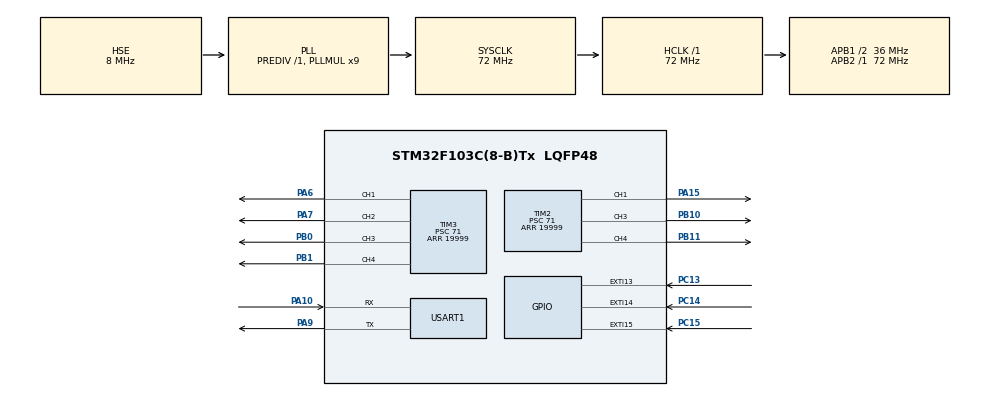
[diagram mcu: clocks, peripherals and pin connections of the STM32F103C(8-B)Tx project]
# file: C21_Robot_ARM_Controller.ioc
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Mcu.Family=STM32F1
Mcu.Name=STM32F103C(8-B)Tx
Mcu.Package=LQFP48
NVIC.EXTI15_10_IRQn=true\:0\:0\:false\:false\:true\:true\:true
NVIC.PriorityGroup=NVIC_PRIORITYGROUP_4
NVIC.USART1_IRQn=true\:0\:0\:false\:false\:true\:true\:true
PA10.Mode=Asynchronous
PA10.Signal=USART1_RX
PA13.Mode=Serial_Wire
PA13.Signal=SYS_JTMS-SWDIO
PA14.Mode=Serial_Wire
PA14.Signal=SYS_JTCK-SWCLK
PA15.Signal=S_TIM2_CH1_ETR
PA6.Signal=S_TIM3_CH1
PA7.Signal=S_TIM3_CH2
PA9.Mode=Asynchronous
PA9.Signal=USART1_TX
PB0.Signal=S_TIM3_CH3
PB1.Signal=S_TIM3_CH4
PB10.Signal=S_TIM2_CH3
PB11.Signal=S_TIM2_CH4
PC13-TAMPER-RTC.GPIO_ModeDefaultEXTI=GPIO_MODE_IT_RISING_FALLING
PC13-TAMPER-RTC.Signal=GPXTI13
PC14-OSC32_IN.Signal=GPXTI14
PC15-OSC32_OUT.Signal=GPXTI15
PD0-OSC_IN.Mode=HSE-External-Oscillator
PD0-OSC_IN.Signal=RCC_OSC_IN
PD1-OSC_OUT.Mode=HSE-External-Oscillator
PD1-OSC_OUT.Signal=RCC_OSC_OUT
ProjectManager.HeapSize=0x200
ProjectManager.StackSize=0x400
ProjectManager.TargetToolchain=STM32CubeIDE
RCC.ADCPresc=RCC_ADCPCLK2_DIV8
RCC.AHBFreq_Value=72000000
RCC.APB1CLKDivider=RCC_HCLK_DIV2
RCC.APB1Freq_Value=36000000
RCC.APB1TimFreq_Value=72000000
RCC.APB2Freq_Value=72000000
RCC.APB2TimFreq_Value=72000000
RCC.HCLKFreq_Value=72000000
RCC.PLLMUL=RCC_PLL_MUL9
RCC.PLLSourceVirtual=RCC_PLLSOURCE_HSE
RCC.SYSCLKFreq_VALUE=72000000
RCC.SYSCLKSource=RCC_SYSCLKSOURCE_PLLCLK
RCC.USBFreq_Value=48000000
RCC.USBPrescaler=RCC_USBCLKSOURCE_PLL_DIV1_5
SH.S_TIM2_CH1_ETR.0=TIM2_CH1,PWM Generation1 CH1
SH.S_TIM2_CH3.0=TIM2_CH3,PWM Generation3 CH3
SH.S_TIM2_CH4.0=TIM2_CH4,PWM Generation4 CH4
SH.S_TIM3_CH1.0=TIM3_CH1,PWM Generation1 CH1
SH.S_TIM3_CH2.0=TIM3_CH2,PWM Generation2 CH2
SH.S_TIM3_CH3.0=TIM3_CH3,PWM Generation3 CH3
SH.S_TIM3_CH4.0=TIM3_CH4,PWM Generation4 CH4
TIM1.Period=2000
TIM1.Prescaler=71
TIM2.Channel-PWM\ Generation1\ CH1=TIM_CHANNEL_1
TIM2.Channel-PWM\ Generation3\ CH3=TIM_CHANNEL_3
TIM2.Channel-PWM\ Generation4\ CH4=TIM_CHANNEL_4
TIM2.Period=19999
TIM2.Prescaler=71
TIM3.Channel-PWM\ Generation1\ CH1=TIM_CHANNEL_1
TIM3.Channel-PWM\ Generation2\ CH2=TIM_CHANNEL_2
TIM3.Channel-PWM\ Generation3\ CH3=TIM_CHANNEL_3
TIM3.Channel-PWM\ Generation4\ CH4=TIM_CHANNEL_4
TIM3.Period=19999
TIM3.Prescaler=71
TIM3.Pulse-PWM\ Generation3\ CH3=1000
TIM4.Period=5000
TIM4.Prescaler=71
USART1.VirtualMode=VM_ASYNC
VP_TIM1_VS_ClockSourceINT.Mode=Internal
VP_TIM2_VS_ClockSourceINT.Mode=Internal
VP_TIM3_VS_ClockSourceINT.Mode=Internal
VP_TIM4_VS_ClockSourceINT.Mode=Internal
board=custom

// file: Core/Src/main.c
/* USER CODE BEGIN Header */
/**
  ******************************************************************************
  * @file           : main.c
  * @brief          : Main program body
  ******************************************************************************
  * @attention
  *
  * <h2><center>&copy; Copyright (c) 2020 STMicroelectronics.
  * All rights reserved.</center></h2>
  *
  * This software component is licensed by ST under Ultimate Liberty license
  * SLA0044, the "License"; You may not use this file except in compliance with
  * the License. You may obtain a copy of the License at:
  *                             www.st.com/SLA0044
  *
  ******************************************************************************
  */
/* USER CODE END Header */
#include "main.h"

TIM_HandleTypeDef htim1;
TIM_HandleTypeDef htim2;
TIM_HandleTypeDef htim3;
TIM_HandleTypeDef htim4;

UART_HandleTypeDef huart1;

void SystemClock_Config(void);
static void MX_GPIO_Init(void);
static void MX_TIM3_Init(void);
static void MX_TIM2_Init(void);
static void MX_TIM1_Init(void);
static void MX_TIM4_Init(void);
static void MX_USART1_UART_Init(void);

/* USER CODE BEGIN 0 */
uint8_t Rx_data[2];
uint8_t Rx_buffer[6];
uint16_t theta[6];
uint8_t count[6];

/* USER CODE END 0 */

int main(void)
{

  /* MCU Configuration--------------------------------------------------------*/

  /* Reset of all peripherals, Initializes the Flash interface and the Systick. */
   HAL_Init();

  /* Configure the system clock */
  SystemClock_Config();

  /* Initialize all configured peripherals */
  MX_GPIO_Init();
  MX_TIM3_Init();
  MX_TIM2_Init();
  MX_TIM1_Init();
  MX_TIM4_Init();
  MX_USART1_UART_Init();
  /* USER CODE BEGIN 2 */
  HAL_UART_Receive_IT(&huart1, (uint8_t *) Rx_data, 1);

  HAL_TIM_PWM_Start(&htim2,TIM_CHANNEL_1);
   HAL_TIM_PWM_Start(&htim2,TIM_CHANNEL_3);
   HAL_TIM_PWM_Start(&htim2,TIM_CHANNEL_4);
   HAL_TIM_PWM_Start(&htim3,TIM_CHANNEL_1);
   HAL_TIM_PWM_Start(&htim3,TIM_CHANNEL_2);
   HAL_TIM_PWM_Start(&htim3,TIM_CHANNEL_3);
   HAL_TIM_PWM_Start(&htim3,TIM_CHANNEL_4);

   __HAL_TIM_SET_COMPARE(&htim2, TIM_CHANNEL_1, 1500);
   __HAL_TIM_SET_COMPARE(&htim2, TIM_CHANNEL_3, 1500);
   __HAL_TIM_SET_COMPARE(&htim2, TIM_CHANNEL_4, 1500);
   __HAL_TIM_SET_COMPARE(&htim3, TIM_CHANNEL_1, 1500);
   __HAL_TIM_SET_COMPARE(&htim3, TIM_CHANNEL_2, 1500);
   __HAL_TIM_SET_COMPARE(&htim3, TIM_CHANNEL_3, 1500);

      for(int i = 0; i<6; i++){
   	   theta[i] = 1500;
      }
  /* USER CODE END 2 */

  /* Infinite loop */
  while (1)
  {

    /* USER CODE BEGIN 3 */
	  for(int i = 0; i <6; i++){
	  if((theta[i] > 1000)){
		  if(count[i] == 1)
		     theta[i]--;

	 }
	  if((theta[i] < 2000)){
		  if (count[i] == 2)
		     theta[i]++;

	 }
	  }

	  	  __HAL_TIM_SET_COMPARE(&htim2, TIM_CHANNEL_3, theta[0]);
	  	  __HAL_TIM_SET_COMPARE(&htim2, TIM_CHANNEL_4, theta[1]);
	  	  __HAL_TIM_SET_COMPARE(&htim3, TIM_CHANNEL_4, theta[2]);
	      __HAL_TIM_SET_COMPARE(&htim3, TIM_CHANNEL_3, theta[3]);
	  	  __HAL_TIM_SET_COMPARE(&htim3, TIM_CHANNEL_2, theta[4]);
	        HAL_Delay(5);

  }
  /* USER CODE END 3 */
}

void SystemClock_Config(void)
{
  RCC_OscInitTypeDef RCC_OscInitStruct = {0};
  RCC_ClkInitTypeDef RCC_ClkInitStruct = {0};

  /** Initializes the RCC Oscillators according to the specified parameters
  * in the RCC_OscInitTypeDef structure.
  */
  RCC_OscInitStruct.OscillatorType = RCC_OSCILLATORTYPE_HSE;
  RCC_OscInitStruct.HSEState = RCC_HSE_ON;
  RCC_OscInitStruct.HSEPredivValue = RCC_HSE_PREDIV_DIV1;
  RCC_OscInitStruct.HSIState = RCC_HSI_ON;
  RCC_OscInitStruct.PLL.PLLState = RCC_PLL_ON;
  RCC_OscInitStruct.PLL.PLLSource = RCC_PLLSOURCE_HSE;
  RCC_OscInitStruct.PLL.PLLMUL = RCC_PLL_MUL9;
  if (HAL_RCC_OscConfig(&RCC_OscInitStruct) != HAL_OK)
  {
    Error_Handler();
  }
  /** Initializes the CPU, AHB and APB buses clocks
  */
  RCC_ClkInitStruct.ClockType = RCC_CLOCKTYPE_HCLK|RCC_CLOCKTYPE_SYSCLK
                              |RCC_CLOCKTYPE_PCLK1|RCC_CLOCKTYPE_PCLK2;
  RCC_ClkInitStruct.SYSCLKSource = RCC_SYSCLKSOURCE_PLLCLK;
  RCC_ClkInitStruct.AHBCLKDivider = RCC_SYSCLK_DIV1;
  RCC_ClkInitStruct.APB1CLKDivider = RCC_HCLK_DIV2;
  RCC_ClkInitStruct.APB2CLKDivider = RCC_HCLK_DIV1;

  if (HAL_RCC_ClockConfig(&RCC_ClkInitStruct, FLASH_LATENCY_2) != HAL_OK)
  {
    Error_Handler();
  }
}

static void MX_TIM1_Init(void)
{

  TIM_ClockConfigTypeDef sClockSourceConfig = {0};
  TIM_MasterConfigTypeDef sMasterConfig = {0};

  htim1.Instance = TIM1;
  htim1.Init.Prescaler = 71;
  htim1.Init.CounterMode = TIM_COUNTERMODE_UP;
  htim1.Init.Period = 2000;
  htim1.Init.ClockDivision = TIM_CLOCKDIVISION_DIV1;
  htim1.Init.RepetitionCounter = 0;
  htim1.Init.AutoReloadPreload = TIM_AUTORELOAD_PRELOAD_DISABLE;
  if (HAL_TIM_Base_Init(&htim1) != HAL_OK)
  {
    Error_Handler();
  }
  sClockSourceConfig.ClockSource = TIM_CLOCKSOURCE_INTERNAL;
  if (HAL_TIM_ConfigClockSource(&htim1, &sClockSourceConfig) != HAL_OK)
  {
    Error_Handler();
  }
  sMasterConfig.MasterOutputTrigger = TIM_TRGO_RESET;
  sMasterConfig.MasterSlaveMode = TIM_MASTERSLAVEMODE_DISABLE;
  if (HAL_TIMEx_MasterConfigSynchronization(&htim1, &sMasterConfig) != HAL_OK)
  {
    Error_Handler();
  }

}

static void MX_TIM2_Init(void)
{

  TIM_ClockConfigTypeDef sClockSourceConfig = {0};
  TIM_MasterConfigTypeDef sMasterConfig = {0};
  TIM_OC_InitTypeDef sConfigOC = {0};

  htim2.Instance = TIM2;
  htim2.Init.Prescaler = 71;
  htim2.Init.CounterMode = TIM_COUNTERMODE_UP;
  htim2.Init.Period = 19999;
  htim2.Init.ClockDivision = TIM_CLOCKDIVISION_DIV1;
  htim2.Init.AutoReloadPreload = TIM_AUTORELOAD_PRELOAD_DISABLE;
  if (HAL_TIM_Base_Init(&htim2) != HAL_OK)
  {
    Error_Handler();
  }
  sClockSourceConfig.ClockSource = TIM_CLOCKSOURCE_INTERNAL;
  if (HAL_TIM_ConfigClockSource(&htim2, &sClockSourceConfig) != HAL_OK)
  {
    Error_Handler();
  }
  if (HAL_TIM_PWM_Init(&htim2) != HAL_OK)
  {
    Error_Handler();
  }
  sMasterConfig.MasterOutputTrigger = TIM_TRGO_RESET;
  sMasterConfig.MasterSlaveMode = TIM_MASTERSLAVEMODE_DISABLE;
  if (HAL_TIMEx_MasterConfigSynchronization(&htim2, &sMasterConfig) != HAL_OK)
  {
    Error_Handler();
  }
  sConfigOC.OCMode = TIM_OCMODE_PWM1;
  sConfigOC.Pulse = 0;
  sConfigOC.OCPolarity = TIM_OCPOLARITY_HIGH;
  sConfigOC.OCFastMode = TIM_OCFAST_DISABLE;
  if (HAL_TIM_PWM_ConfigChannel(&htim2, &sConfigOC, TIM_CHANNEL_1) != HAL_OK)
  {
    Error_Handler();
  }
  if (HAL_TIM_PWM_ConfigChannel(&htim2, &sConfigOC, TIM_CHANNEL_3) != HAL_OK)
  {
    Error_Handler();
  }
  if (HAL_TIM_PWM_ConfigChannel(&htim2, &sConfigOC, TIM_CHANNEL_4) != HAL_OK)
  {
    Error_Handler();
  }
  HAL_TIM_MspPostInit(&htim2);

}

static void MX_TIM3_Init(void)
{

  TIM_ClockConfigTypeDef sClockSourceConfig = {0};
  TIM_MasterConfigTypeDef sMasterConfig = {0};
  TIM_OC_InitTypeDef sConfigOC = {0};

  htim3.Instance = TIM3;
  htim3.Init.Prescaler = 71;
  htim3.Init.CounterMode = TIM_COUNTERMODE_UP;
  htim3.Init.Period = 19999;
  htim3.Init.ClockDivision = TIM_CLOCKDIVISION_DIV1;
  htim3.Init.AutoReloadPreload = TIM_AUTORELOAD_PRELOAD_DISABLE;
  if (HAL_TIM_Base_Init(&htim3) != HAL_OK)
  {
    Error_Handler();
  }
  sClockSourceConfig.ClockSource = TIM_CLOCKSOURCE_INTERNAL;
  if (HAL_TIM_ConfigClockSource(&htim3, &sClockSourceConfig) != HAL_OK)
  {
    Error_Handler();
  }
  if (HAL_TIM_PWM_Init(&htim3) != HAL_OK)
  {
    Error_Handler();
  }
  sMasterConfig.MasterOutputTrigger = TIM_TRGO_RESET;
  sMasterConfig.MasterSlaveMode = TIM_MASTERSLAVEMODE_DISABLE;
  if (HAL_TIMEx_MasterConfigSynchronization(&htim3, &sMasterConfig) != HAL_OK)
  {
    Error_Handler();
  }
  sConfigOC.OCMode = TIM_OCMODE_PWM1;
  sConfigOC.Pulse = 0;
  sConfigOC.OCPolarity = TIM_OCPOLARITY_HIGH;
  sConfigOC.OCFastMode = TIM_OCFAST_DISABLE;
  if (HAL_TIM_PWM_ConfigChannel(&htim3, &sConfigOC, TIM_CHANNEL_1) != HAL_OK)
  {
    Error_Handler();
  }
  if (HAL_TIM_PWM_ConfigChannel(&htim3, &sConfigOC, TIM_CHANNEL_2) != HAL_OK)
  {
    Error_Handler();
  }
  sConfigOC.Pulse = 1000;
  if (HAL_TIM_PWM_ConfigChannel(&htim3, &sConfigOC, TIM_CHANNEL_3) != HAL_OK)
  {
    Error_Handler();
  }
  sConfigOC.Pulse = 0;
  if (HAL_TIM_PWM_ConfigChannel(&htim3, &sConfigOC, TIM_CHANNEL_4) != HAL_OK)
  {
    Error_Handler();
  }
  HAL_TIM_MspPostInit(&htim3);

}

static void MX_TIM4_Init(void)
{

  TIM_ClockConfigTypeDef sClockSourceConfig = {0};
  TIM_MasterConfigTypeDef sMasterConfig = {0};

  htim4.Instance = TIM4;
  htim4.Init.Prescaler = 71;
  htim4.Init.CounterMode = TIM_COUNTERMODE_UP;
  htim4.Init.Period = 5000;
  htim4.Init.ClockDivision = TIM_CLOCKDIVISION_DIV1;
  htim4.Init.AutoReloadPreload = TIM_AUTORELOAD_PRELOAD_DISABLE;
  if (HAL_TIM_Base_Init(&htim4) != HAL_OK)
  {
    Error_Handler();
  }
  sClockSourceConfig.ClockSource = TIM_CLOCKSOURCE_INTERNAL;
  if (HAL_TIM_ConfigClockSource(&htim4, &sClockSourceConfig) != HAL_OK)
  {
    Error_Handler();
  }
  sMasterConfig.MasterOutputTrigger = TIM_TRGO_RESET;
  sMasterConfig.MasterSlaveMode = TIM_MASTERSLAVEMODE_DISABLE;
  if (HAL_TIMEx_MasterConfigSynchronization(&htim4, &sMasterConfig) != HAL_OK)
  {
    Error_Handler();
  }

}

static void MX_USART1_UART_Init(void)
{

  huart1.Instance = USART1;
  huart1.Init.BaudRate = 115200;
  huart1.Init.WordLength = UART_WORDLENGTH_8B;
  huart1.Init.StopBits = UART_STOPBITS_1;
  huart1.Init.Parity = UART_PARITY_NONE;
  huart1.Init.Mode = UART_MODE_TX_RX;
  huart1.Init.HwFlowCtl = UART_HWCONTROL_NONE;
  huart1.Init.OverSampling = UART_OVERSAMPLING_16;
  if (HAL_UART_Init(&huart1) != HAL_OK)
  {
    Error_Handler();
  }

}

static void MX_GPIO_Init(void)
{
  GPIO_InitTypeDef GPIO_InitStruct = {0};

  /* GPIO Ports Clock Enable */
  __HAL_RCC_GPIOC_CLK_ENABLE();
  __HAL_RCC_GPIOD_CLK_ENABLE();
  __HAL_RCC_GPIOA_CLK_ENABLE();
  __HAL_RCC_GPIOB_CLK_ENABLE();

  /*Configure GPIO pin : PC13 */
  GPIO_InitStruct.Pin = GPIO_PIN_13;
  GPIO_InitStruct.Mode = GPIO_MODE_IT_RISING_FALLING;
  GPIO_InitStruct.Pull = GPIO_NOPULL;
  HAL_GPIO_Init(GPIOC, &GPIO_InitStruct);

  /*Configure GPIO pins : PC14 PC15 */
  GPIO_InitStruct.Pin = GPIO_PIN_14|GPIO_PIN_15;
  GPIO_InitStruct.Mode = GPIO_MODE_IT_RISING;
  GPIO_InitStruct.Pull = GPIO_NOPULL;
  HAL_GPIO_Init(GPIOC, &GPIO_InitStruct);

  /* EXTI interrupt init*/
  HAL_NVIC_SetPriority(EXTI15_10_IRQn, 0, 0);
  HAL_NVIC_EnableIRQ(EXTI15_10_IRQn);

}

/* USER CODE BEGIN 4 */
uint8_t j;
void HAL_UART_RxCpltCallback(UART_HandleTypeDef *huart)
{
	HAL_GPIO_TogglePin(GPIOB, GPIO_PIN_13);

	if (huart->Instance == USART1)  //current UART
	{
		if(Rx_data[0] == '\n'){
					j = 0;
		//			BOARD_MODE = FLY_MODE;
					for(int i = 0; i<6; i++){
					if(Rx_buffer[i] == 'f'){
						count[i] = 1;
				    }

					 if(Rx_buffer[i] == 'b'){
						 count[i] = 2;
                     }
					 if(Rx_buffer[i] == '0'){
						 count[i] = 0;
                     }
					}

		             for(int count = 0; count< 6; count++)
		            	 Rx_buffer[count] = 0x00;
				}
		else{

					 Rx_buffer[j] = Rx_data[0];
					 j++;
		//			 HAL_UART_Receive_IT(&huart3, (uint8_t *) Rx_data, 1);

		}
//
	}
	HAL_UART_Receive_IT(&huart1, (uint8_t *) Rx_data, 1);
}
/* USER CODE END 4 */

void Error_Handler(void)
{
}

/************************ (C) COPYRIGHT STMicroelectronics *****END OF FILE****/
